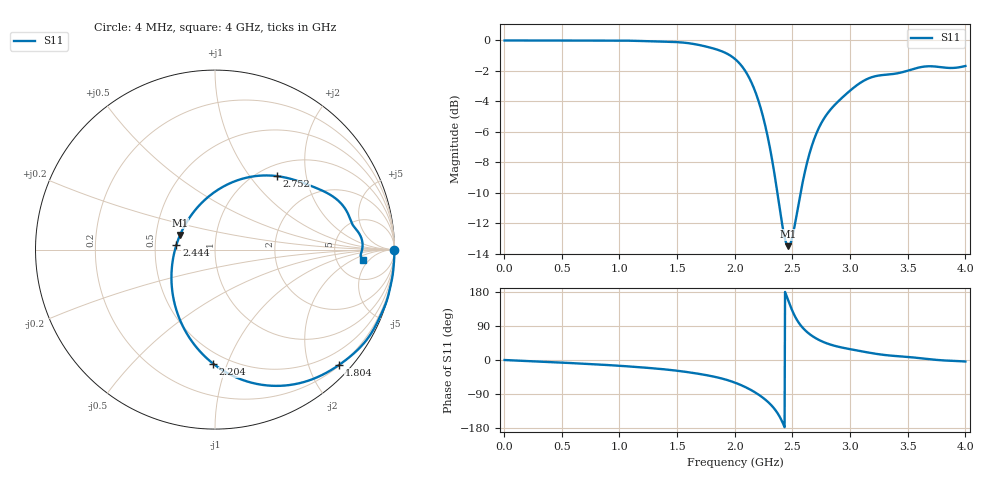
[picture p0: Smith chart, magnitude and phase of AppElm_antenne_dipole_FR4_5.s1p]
! TOUCHSTONE file generated by CST MICROWAVE STUDIO
! Date and time: Thu May 12 15:28:11 2022
! Project name: AppElm_antenne_dipole_FR4.cst
! Parameters = {L=38.8; e=0.035; f=2.45e+09; h=1.6; i=0.8; l1=3.8; lambda=122.449; ls=30; wl=1.7; ws=80}
! Header version: 2018
! Port assignment regex: !\s*Touchstone port\s*([0-9]+)\s*=\s*(CST MWS port|CST DS port)\s*([0-9]+|Zmin|Zmax)\s*\(\"(.*)\"\)(\s*mode\s*([0-9]+))?.*
! Touchstone port assignment:
! Touchstone port 1 = CST MWS port 1 ("")
# GHz S MA R 50
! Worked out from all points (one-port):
!   1000 points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, 4 MHz to 4 GHz, reference 50 ohm
!   lowest |S11| = -13.5 dB at 2.464 GHz (marker M1), VSWR 1.53, Z = 33.3 + j5.71 ohm
!   |S11| at or under -10 dB: 2.369 GHz to 2.571 GHz (201.8 MHz wide, 8.17 % of centre)
!   S11 on the Smith chart (normalised r, x): 4 MHz: open; 1.804 GHz: 0.22, -2.53; 2.204 GHz: 0.42, -0.89; 2.444 GHz: 0.64, +0.03; 2.752 GHz: 1.20, +1.38; 4 GHz: 9.22, -3.25
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0.004  0.9999 -0.1
0.504  0.9999 -6.9
1.004  0.9988 -15.3
1.504  0.9872 -28.5
1.66  0.9713 -35.1
1.804  0.9436 -42.9
1.912  0.913 -50.9
2.004  0.8679 -60.0
2.112  0.77 -74.5
2.204  0.636 -90.9
2.272  0.5098 -106.4
2.332  0.3888 -124.5
2.388  0.2835 -148.9
2.444  0.2169 173.4
2.464  0.211 157.2
2.504  0.2303 126.6
2.564  0.3058 94.5
2.62  0.387 75.7
2.68  0.4644 61.7
2.752  0.5365 49.7
2.856  0.608 38.3
3.004  0.6862 28.3
3.204  0.7606 17.3
3.332  0.7731 12.1
3.504  0.7965 7.9
3.648  0.8211 3.5
3.776  0.818 -0.4
4  0.8242 -3.9
